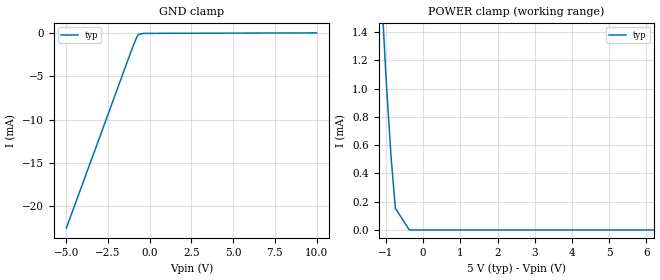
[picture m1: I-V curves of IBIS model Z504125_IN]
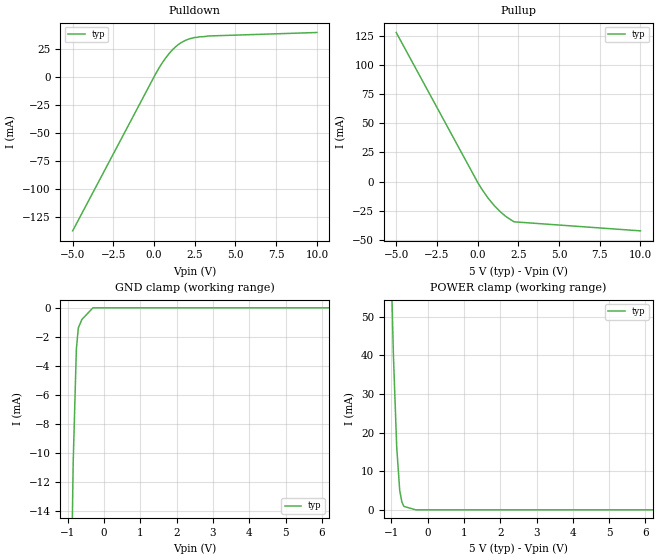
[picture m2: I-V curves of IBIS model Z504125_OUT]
| YOU ARE ONLY AUTHORIZED TO USE THIS SOFTWARE
| ACCORDING TO LICENSOR'S LICENSE RESTRICTIONS.
[IBIS Ver] 3.1
[File Name] mc54hc86j.ibs
[File Rev] 2.0
[Source] Measured and created by ICX Technology
[Date] Friday 7/14/00 9:08:07 AM
[Copyright]
| (C) COPYRIGHT 1993-2000
| MENTOR GRAPHICS CORPORATION
| ICX STANDARD LIBRARY, ICX PROJECT MODELING,
| ICX CUSTOM MODELING, ICX VENDOR MODEL
| ALL RIGHTS RESERVED.
| THE FOLLOWING ARE TRADEMARKS OR SERVICE MARKS OF
| MENTOR GRAPHICS CORPORATION:ICX (R), ICX STANDARD
| LIBRARY(R), ICX PROJECT MODELING(R), ICX CUSTOM
| MODELING(R), qualityIBIS(TM), MODELVIEWER(TM),
| AND MODELEDITOR(TM)
| ALL COPIES OF SOFTWARE, INCLUDING BUT NOT LIMITED TO
| ANY MODIFICATIONS, ENHANCEMENTS OR DERIVATIVE WORKS,
| MUST CONTAIN ALL MENTOR GRAPHICS CORPORATION'S
| NOTICES AND LEGENDS, INCLUDING THOSE EMBEDDED IN
| SOFTWARE AND THOSE AFFIXED TO SOFTWARE MEDIUM
| AND CONTAINER, AS RECEIVED FROM MENTOR GRAPHICS
| CORPORATION.
|  ZAP Model Builder 2.7
[Component] MC54HC86J
[Manufacturer] OnSemiconductor
[Package]
| variable   typ   min   max
R_pkg  .21ohms NA NA
L_pkg  4.543nH NA NA
C_pkg  1.8pF NA NA
[Pin] signal_name  model_name  R_pin  L_pin C_pin
1 A Z504125_IN .22 6.757n 2.434p
2 B Z504125_IN .212 4.757n 1.941p
3 Y Z504125_OUT .204 3.257n 1.448p
4 A Z504125_IN .196 2.257n .955p
5 B Z504125_IN .204 3.257n 1.448p
6 Y Z504125_OUT .212 4.757n 1.941p
7 GND GND .22 6.757n 2.434p
8 Y Z504125_OUT .22 6.757n 2.434p
9 A Z504125_IN .212 4.757n 1.941p
10 B Z504125_IN .204 3.257n 1.448p
11 Y Z504125_OUT .196 2.257n .955p
12 A Z504125_IN .204 3.257n 1.448p
13 B Z504125_IN .212 4.757n 1.941p
14 VCC POWER .22 6.757n 2.434p
| Models and submodels in the file (2): Z504125_IN (Input), Z504125_OUT (Output)
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| (C) COPYRIGHT 1993-2000
| MENTOR GRAPHICS CORPORATION
| ICX STANDARD LIBRARY, ICX PROJECT MODELING,
| ICX CUSTOM MODELING, ICX VENDOR MODEL
| ALL RIGHTS RESERVED.
| THE FOLLOWING ARE TRADEMARKS OR SERVICE MARKS OF
| MENTOR GRAPHICS CORPORATION:ICX (R), ICX STANDARD
| LIBRARY(R), ICX PROJECT MODELING(R), ICX CUSTOM
| MODELING(R), qualityIBIS(TM), MODELVIEWER(TM),
| AND MODELEDITOR(TM)
| ALL COPIES OF SOFTWARE, INCLUDING BUT NOT LIMITED TO
| ANY MODIFICATIONS, ENHANCEMENTS OR DERIVATIVE WORKS,
| MUST CONTAIN ALL MENTOR GRAPHICS CORPORATION'S
| NOTICES AND LEGENDS, INCLUDING THOSE EMBEDDED IN
| SOFTWARE AND THOSE AFFIXED TO SOFTWARE MEDIUM
| AND CONTAINER, AS RECEIVED FROM MENTOR GRAPHICS
| CORPORATION.
| Model Application Version 1.89 2/18/99.
[Model] Z504125_IN
Model_type Input
Vinl = 1.000V
Vinh = 3.500V
C_comp 4.000pF NA NA
| variable typ   min   max
[Voltage Range] 5.000V NA NA
[GND Clamp Reference] 0.000V NA NA
[POWER Clamp Reference] 5.000V NA NA
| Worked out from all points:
|   POWER clamp passes 1 mA (typ) near -0.98 V on its own axis
[GND Clamp]
-5V       -22.52mA   NA         NA
-1.049V   -1.748mA   NA         NA
-765.4mV  -409.9uA   NA         NA
-683.6mV  -139.6uA   NA         NA
-341.8mV  -24.72uA   NA         NA
10V       32.34uA    NA         NA
[POWER Clamp]
-5V       21.17mA    NA         NA
-1V       1.082mA    NA         NA
-864mV    519.4uA    NA         NA
-747mV    153.2uA    NA         NA
-373.5mV  0A         NA         NA
10V       0A         NA         NA
| (C) COPYRIGHT 1993-2000
| MENTOR GRAPHICS CORPORATION
| ICX STANDARD LIBRARY, ICX PROJECT MODELING,
| ICX CUSTOM MODELING, ICX VENDOR MODEL
| ALL RIGHTS RESERVED.
| THE FOLLOWING ARE TRADEMARKS OR SERVICE MARKS OF
| MENTOR GRAPHICS CORPORATION:ICX (R), ICX STANDARD
| LIBRARY(R), ICX PROJECT MODELING(R), ICX CUSTOM
| MODELING(R), qualityIBIS(TM), MODELVIEWER(TM),
| AND MODELEDITOR(TM)
| ALL COPIES OF SOFTWARE, INCLUDING BUT NOT LIMITED TO
| ANY MODIFICATIONS, ENHANCEMENTS OR DERIVATIVE WORKS,
| MUST CONTAIN ALL MENTOR GRAPHICS CORPORATION'S
| NOTICES AND LEGENDS, INCLUDING THOSE EMBEDDED IN
| SOFTWARE AND THOSE AFFIXED TO SOFTWARE MEDIUM
| AND CONTAINER, AS RECEIVED FROM MENTOR GRAPHICS
| CORPORATION.
| Model Application Version 1.89 2/18/99.
[Model] Z504125_OUT
Model_type Output
Vref=0.000V
Rref=500.0Mohms
Cref=50.00pF
Vmeas=2.500V
C_comp 8.000pF NA NA
| variable typ   min   max
[Voltage Range] 5.000V NA NA
[POWER Clamp Reference] 5.000V NA NA
[Pullup Reference] 5.000V NA NA
[Pulldown Reference] 0.000V NA NA
[GND Clamp Reference] 0.000V NA NA
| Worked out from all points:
|   slope of the pulldown table from 0 to 0.75 V, typ, clamps not added: 42.8 ohm
|   slope of the pullup table from 0 to 0.75 V, typ, clamps not added: 48.7 ohm
|   GND clamp passes 1 mA (typ) near -0.64 V on its own axis
|   POWER clamp passes 1 mA (typ) near -0.66 V on its own axis
[GND Clamp]
-5V       -727.3mA   NA         NA
-849.6mV  -10.69mA   NA         NA
-761.8mV  -2.847mA   NA         NA
-707.9mV  -1.383mA   NA         NA
-608.4mV  -795.8uA   NA         NA
-304.2mV  0A         NA         NA
10V       0A         NA         NA
[Pulldown]
-5V       -137.7mA   NA         NA
83.85mV   2.421mA    NA         NA
707.8mV   16.86mA    NA         NA
1.333V    27.09mA    NA         NA
1.945V    32.81mA    NA         NA
2.799V    35.87mA    NA         NA
10V       39.72mA    NA         NA
[Pullup]
-5V       127.9mA    NA         NA
43mV      -1.715mA   NA         NA
337mV     -8.129mA   NA         NA
666mV     -14.62mA   NA         NA
1.04V     -20.88mA   NA         NA
1.414V    -26.14mA   NA         NA
1.689V    -29.4mA    NA         NA
1.807V    -30.61mA   NA         NA
2.147V    -33.71mA   NA         NA
2.241V    -34.48mA   NA         NA
10V       -42.24mA   NA         NA
[POWER Clamp]
-5V       1.567A     NA         NA
-942mV    40.2mA     NA         NA
-850mV    16.17mA    NA         NA
-767mV    4.979mA    NA         NA
-708mV    2.035mA    NA         NA
-653mV    898.3uA    NA         NA
-326.5mV  0A         NA         NA
10V       0A         NA         NA
[Ramp]
| variable typ min max
dV/dt_r 2.767/1.764n NA NA
dV/dt_f 2.767/1.497n NA NA
R_load = 500.0Ohms
